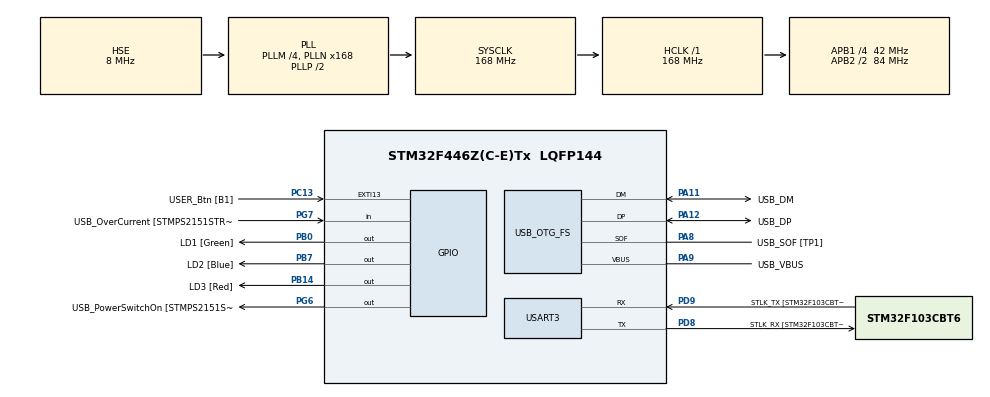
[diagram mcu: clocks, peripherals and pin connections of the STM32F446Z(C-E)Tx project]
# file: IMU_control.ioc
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Mcu.Family=STM32F4
Mcu.Name=STM32F446Z(C-E)Tx
Mcu.Package=LQFP144
NVIC.PriorityGroup=NVIC_PRIORITYGROUP_4
PA10.GPIO_Label=USB_ID
PA10.Signal=USB_OTG_FS_ID
PA11.GPIO_Label=USB_DM
PA11.Mode=Device_Only
PA11.Signal=USB_OTG_FS_DM
PA12.GPIO_Label=USB_DP
PA12.Mode=Device_Only
PA12.Signal=USB_OTG_FS_DP
PA13.GPIO_Label=TMS
PA13.Mode=Serial_Wire
PA13.Signal=SYS_JTMS-SWDIO
PA14.GPIO_Label=TCK
PA14.Mode=Serial_Wire
PA14.Signal=SYS_JTCK-SWCLK
PA8.GPIO_Label=USB_SOF [TP1]
PA8.Mode=Activate_SOF_FS
PA8.Signal=USB_OTG_FS_SOF
PA9.GPIO_Label=USB_VBUS
PA9.Mode=Activate_VBUS
PA9.Signal=USB_OTG_FS_VBUS
PB0.GPIO_Label=LD1 [Green]
PB0.Signal=GPIO_Output
PB14.GPIO_Label=LD3 [Red]
PB14.Signal=GPIO_Output
PB7.GPIO_Label=LD2 [Blue]
PB7.Signal=GPIO_Output
PC13.GPIO_Label=USER_Btn [B1]
PC13.Signal=GPXTI13
PC14-OSC32_IN.Mode=LSE-External-Oscillator
PC14-OSC32_IN.Signal=RCC_OSC32_IN
PC15-OSC32_OUT.Mode=LSE-External-Oscillator
PC15-OSC32_OUT.Signal=RCC_OSC32_OUT
PD8.GPIO_Label=STLK_RX [STM32F103CBT6_PA3]
PD8.Mode=Asynchronous
PD8.Signal=USART3_TX
PD9.GPIO_Label=STLK_TX [STM32F103CBT6_PA2]
PD9.Mode=Asynchronous
PD9.Signal=USART3_RX
PG6.GPIO_Label=USB_PowerSwitchOn [STMPS2151STR_EN]
PG6.Signal=GPIO_Output
PG7.GPIO_Label=USB_OverCurrent [STMPS2151STR_FAULT]
PG7.Signal=GPIO_Input
PH0-OSC_IN.GPIO_Label=MCO [STM32F103CBT6_PA8]
PH0-OSC_IN.Mode=HSE-External-Clock-Source
PH0-OSC_IN.Signal=RCC_OSC_IN
PH1-OSC_OUT.Mode=HSE-External-Clock-Source
PH1-OSC_OUT.Signal=RCC_OSC_OUT
ProjectManager.HeapSize=0x200
ProjectManager.StackSize=0x400
ProjectManager.TargetToolchain=STM32CubeIDE
RCC.48MHZClocksFreq_Value=24000000
RCC.AHBFreq_Value=168000000
RCC.APB1CLKDivider=RCC_HCLK_DIV4
RCC.APB1Freq_Value=42000000
RCC.APB1TimFreq_Value=84000000
RCC.APB2CLKDivider=RCC_HCLK_DIV2
RCC.APB2Freq_Value=84000000
RCC.APB2TimFreq_Value=168000000
RCC.CortexFreq_Value=168000000
RCC.HCLKFreq_Value=168000000
RCC.HSE_VALUE=8000000
RCC.HSI_VALUE=16000000
RCC.PLLM=4
RCC.PLLMUL=RCC_PLL_MUL9
RCC.PLLN=168
RCC.PLLQ=7
RCC.PRESCALERUSB=RCC_USBCLKSOURCE_PLL_DIV1_5
RCC.SYSCLKFreq_VALUE=168000000
RCC.SYSCLKSource=RCC_SYSCLKSOURCE_PLLCLK
RCC.SYSCLKSourceVirtual=RCC_SYSCLKSOURCE_PLLCLK
RCC.USBFreq_Value=48000000
RCC.VCOOutputFreq_Value=336000000
USART3.VirtualMode=VM_ASYNC
USB_OTG_FS.VirtualMode=Device_Only
board=NUCLEO-F446ZE

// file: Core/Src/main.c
/* USER CODE BEGIN Header */
/**
  ******************************************************************************
  * @file           : main.c
  * @brief          : Main program body
  ******************************************************************************
  * @attention
  *
  * Copyright (c) 2026 STMicroelectronics.
  * All rights reserved.
  *
  * This software is licensed under terms that can be found in the LICENSE file
  * in the root directory of this software component.
  * If no LICENSE file comes with this software, it is provided AS-IS.
  *
  ******************************************************************************
  */
/* USER CODE END Header */
#include "main.h"

/* USER CODE BEGIN Includes */
#include "estimator.h"
/* USER CODE END Includes */

UART_HandleTypeDef huart3;

PCD_HandleTypeDef hpcd_USB_OTG_FS;

void SystemClock_Config(void);
static void MX_GPIO_Init(void);
static void MX_USART3_UART_Init(void);
static void MX_USB_OTG_FS_PCD_Init(void);

int main(void)
{

  /* MCU Configuration--------------------------------------------------------*/

  /* Reset of all peripherals, Initializes the Flash interface and the Systick. */
  HAL_Init();

  /* Configure the system clock */
  SystemClock_Config();

  /* Initialize all configured peripherals */
  MX_GPIO_Init();
  MX_USART3_UART_Init();
  MX_USB_OTG_FS_PCD_Init();
  /* USER CODE BEGIN 2 */
  IMU_Data imu_test;
  Attitude attitude;

  Estimator_Init();

  imu_test.ax = 0.0f;
  imu_test.ay = 0.0f;
  imu_test.az = 0.0f;

  imu_test.gx = 0.0f;
  imu_test.gy = 0.0f;
  imu_test.gz = 0.0f;

  imu_test.dt = 0.01f;

  Estimator_Update(&imu_test, &attitude);

  float test_roll = attitude.roll;
  float test_pitch = attitude.pitch;
  float test_yaw = attitude.yaw;
  /* USER CODE END 2 */

  /* Infinite loop */
  while (1)
  {

  }
}

void SystemClock_Config(void)
{
  RCC_OscInitTypeDef RCC_OscInitStruct = {0};
  RCC_ClkInitTypeDef RCC_ClkInitStruct = {0};

  /** Configure the main internal regulator output voltage
  */
  __HAL_RCC_PWR_CLK_ENABLE();
  __HAL_PWR_VOLTAGESCALING_CONFIG(PWR_REGULATOR_VOLTAGE_SCALE1);

  /** Initializes the RCC Oscillators according to the specified parameters
  * in the RCC_OscInitTypeDef structure.
  */
  RCC_OscInitStruct.OscillatorType = RCC_OSCILLATORTYPE_HSE;
  RCC_OscInitStruct.HSEState = RCC_HSE_BYPASS;
  RCC_OscInitStruct.PLL.PLLState = RCC_PLL_ON;
  RCC_OscInitStruct.PLL.PLLSource = RCC_PLLSOURCE_HSE;
  RCC_OscInitStruct.PLL.PLLM = 4;
  RCC_OscInitStruct.PLL.PLLN = 168;
  RCC_OscInitStruct.PLL.PLLP = RCC_PLLP_DIV2;
  RCC_OscInitStruct.PLL.PLLQ = 7;
  RCC_OscInitStruct.PLL.PLLR = 2;
  if (HAL_RCC_OscConfig(&RCC_OscInitStruct) != HAL_OK)
  {
    Error_Handler();
  }

  /** Initializes the CPU, AHB and APB buses clocks
  */
  RCC_ClkInitStruct.ClockType = RCC_CLOCKTYPE_HCLK|RCC_CLOCKTYPE_SYSCLK
                              |RCC_CLOCKTYPE_PCLK1|RCC_CLOCKTYPE_PCLK2;
  RCC_ClkInitStruct.SYSCLKSource = RCC_SYSCLKSOURCE_PLLCLK;
  RCC_ClkInitStruct.AHBCLKDivider = RCC_SYSCLK_DIV1;
  RCC_ClkInitStruct.APB1CLKDivider = RCC_HCLK_DIV4;
  RCC_ClkInitStruct.APB2CLKDivider = RCC_HCLK_DIV2;

  if (HAL_RCC_ClockConfig(&RCC_ClkInitStruct, FLASH_LATENCY_5) != HAL_OK)
  {
    Error_Handler();
  }
}

static void MX_USART3_UART_Init(void)
{

  huart3.Instance = USART3;
  huart3.Init.BaudRate = 115200;
  huart3.Init.WordLength = UART_WORDLENGTH_8B;
  huart3.Init.StopBits = UART_STOPBITS_1;
  huart3.Init.Parity = UART_PARITY_NONE;
  huart3.Init.Mode = UART_MODE_TX_RX;
  huart3.Init.HwFlowCtl = UART_HWCONTROL_NONE;
  huart3.Init.OverSampling = UART_OVERSAMPLING_16;
  if (HAL_UART_Init(&huart3) != HAL_OK)
  {
    Error_Handler();
  }

}

static void MX_USB_OTG_FS_PCD_Init(void)
{

  hpcd_USB_OTG_FS.Instance = USB_OTG_FS;
  hpcd_USB_OTG_FS.Init.dev_endpoints = 6;
  hpcd_USB_OTG_FS.Init.speed = PCD_SPEED_FULL;
  hpcd_USB_OTG_FS.Init.dma_enable = DISABLE;
  hpcd_USB_OTG_FS.Init.phy_itface = PCD_PHY_EMBEDDED;
  hpcd_USB_OTG_FS.Init.Sof_enable = ENABLE;
  hpcd_USB_OTG_FS.Init.low_power_enable = DISABLE;
  hpcd_USB_OTG_FS.Init.lpm_enable = DISABLE;
  hpcd_USB_OTG_FS.Init.vbus_sensing_enable = ENABLE;
  hpcd_USB_OTG_FS.Init.use_dedicated_ep1 = DISABLE;
  if (HAL_PCD_Init(&hpcd_USB_OTG_FS) != HAL_OK)
  {
    Error_Handler();
  }

}

static void MX_GPIO_Init(void)
{
  GPIO_InitTypeDef GPIO_InitStruct = {0};

  /* GPIO Ports Clock Enable */
  __HAL_RCC_GPIOC_CLK_ENABLE();
  __HAL_RCC_GPIOH_CLK_ENABLE();
  __HAL_RCC_GPIOB_CLK_ENABLE();
  __HAL_RCC_GPIOD_CLK_ENABLE();
  __HAL_RCC_GPIOG_CLK_ENABLE();
  __HAL_RCC_GPIOA_CLK_ENABLE();

  /*Configure GPIO pin Output Level */
  HAL_GPIO_WritePin(GPIOB, LD1_Pin|LD3_Pin|LD2_Pin, GPIO_PIN_RESET);

  /*Configure GPIO pin Output Level */
  HAL_GPIO_WritePin(USB_PowerSwitchOn_GPIO_Port, USB_PowerSwitchOn_Pin, GPIO_PIN_RESET);

  /*Configure GPIO pin : USER_Btn_Pin */
  GPIO_InitStruct.Pin = USER_Btn_Pin;
  GPIO_InitStruct.Mode = GPIO_MODE_IT_RISING;
  GPIO_InitStruct.Pull = GPIO_NOPULL;
  HAL_GPIO_Init(USER_Btn_GPIO_Port, &GPIO_InitStruct);

  /*Configure GPIO pins : LD1_Pin LD3_Pin LD2_Pin */
  GPIO_InitStruct.Pin = LD1_Pin|LD3_Pin|LD2_Pin;
  GPIO_InitStruct.Mode = GPIO_MODE_OUTPUT_PP;
  GPIO_InitStruct.Pull = GPIO_NOPULL;
  GPIO_InitStruct.Speed = GPIO_SPEED_FREQ_LOW;
  HAL_GPIO_Init(GPIOB, &GPIO_InitStruct);

  /*Configure GPIO pin : USB_PowerSwitchOn_Pin */
  GPIO_InitStruct.Pin = USB_PowerSwitchOn_Pin;
  GPIO_InitStruct.Mode = GPIO_MODE_OUTPUT_PP;
  GPIO_InitStruct.Pull = GPIO_NOPULL;
  GPIO_InitStruct.Speed = GPIO_SPEED_FREQ_LOW;
  HAL_GPIO_Init(USB_PowerSwitchOn_GPIO_Port, &GPIO_InitStruct);

  /*Configure GPIO pin : USB_OverCurrent_Pin */
  GPIO_InitStruct.Pin = USB_OverCurrent_Pin;
  GPIO_InitStruct.Mode = GPIO_MODE_INPUT;
  GPIO_InitStruct.Pull = GPIO_NOPULL;
  HAL_GPIO_Init(USB_OverCurrent_GPIO_Port, &GPIO_InitStruct);

}

void Error_Handler(void)
{
  __disable_irq();
  while (1)
  {
  }
}
